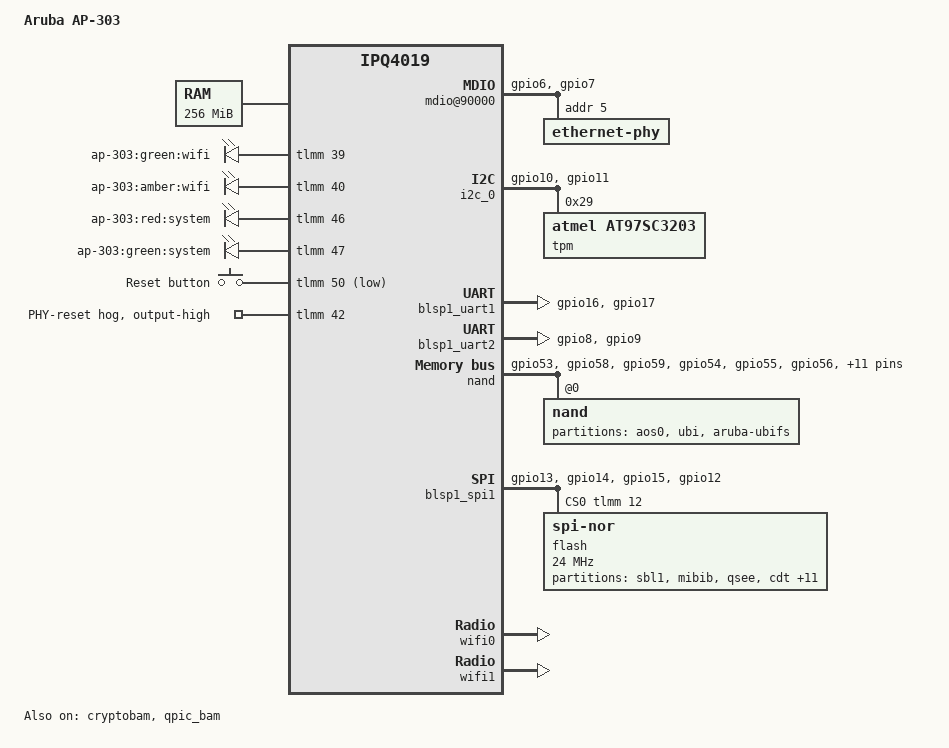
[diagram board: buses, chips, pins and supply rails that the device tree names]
// SPDX-License-Identifier: GPL-2.0 OR MIT

#include "qcom-ipq4019.dtsi"
#include <dt-bindings/gpio/gpio.h>
#include <dt-bindings/input/input.h>
#include <dt-bindings/soc/qcom,tcsr.h>

/ {
	model = "Aruba AP-303";
	compatible = "aruba,ap-303";

	aliases {
		led-boot = &led_system_green;
		led-failsafe = &led_system_red;
		led-running = &led_system_green;
		led-upgrade = &led_system_red;
	};

	memory {
		device_type = "memory";
		reg = <0x80000000 0x10000000>;
	};

	soc {
		rng@22000 {
			status = "okay";
		};

		mdio@90000 {
			status = "okay";
			pinctrl-0 = <&mdio_pins>;
			pinctrl-names = "default";

			/delete-node/ ethernet-phy@0;
			/delete-node/ ethernet-phy@2;
			/delete-node/ ethernet-phy@3;
			/delete-node/ ethernet-phy@4;

			ethernet-phy@5 {
				reg = <0x5>;
			};
		};

		counter@4a1000 {
			compatible = "qcom,qca-gcnt";
			reg = <0x4a1000 0x4>;
		};

		ess_tcsr@1953000 {
			compatible = "qcom,tcsr";
			reg = <0x1953000 0x1000>;
			qcom,ess-interface-select = <TCSR_ESS_PSGMII_RGMII5>;
		};

		tcsr@1949000 {
			compatible = "qcom,tcsr";
			reg = <0x1949000 0x100>;
			qcom,wifi_glb_cfg = <TCSR_WIFI_GLB_CFG>;
		};

		tcsr@1957000 {
			compatible = "qcom,tcsr";
			reg = <0x1957000 0x100>;
			qcom,wifi_noc_memtype_m0_m2 = <TCSR_WIFI_NOC_MEMTYPE_M0_M2>;
		};

		crypto@8e3a000 {
			status = "okay";
		};

		watchdog@b017000 {
			status = "okay";
		};

		ess-switch@c000000 {
			switch_mac_mode = <0x3>; /* mac mode for RGMII RMII */
			switch_lan_bmp = <0x0>; /* lan port bitmap */
			switch_wan_bmp = <0x10>; /* wan port bitmap */
		};

		edma@c080000 {
			qcom,single-phy;
			qcom,num_gmac = <1>;
			phy-mode = "rgmii-id";
			status = "okay";
		};

		i2c_0: i2c@78b7000 {
			pinctrl-0 = <&i2c_0_pins>;
			pinctrl-names = "default";
			status = "ok";

			tpm@29 {
				/* No Driver */
				compatible = "atmel,at97sc3203";
				reg = <0x29>;
				read-only;
			};
		};
	};

	leds {
		compatible = "gpio-leds";

		wifi_green {
			label = "ap-303:green:wifi";
			gpios = <&tlmm 39 GPIO_ACTIVE_HIGH>;
			linux,default-trigger = "phy0tpt";
		};

		wifi_amber {
			label = "ap-303:amber:wifi";
			gpios = <&tlmm 40 GPIO_ACTIVE_HIGH>;
			linux,default-trigger = "phy1tpt";
		};

		led_system_red: system_red {
			label = "ap-303:red:system";
			gpios = <&tlmm 46 GPIO_ACTIVE_HIGH>;
		};

		led_system_green: system_green {
			label = "ap-303:green:system";
			gpios = <&tlmm 47 GPIO_ACTIVE_HIGH>;
		};
	};

	keys {
		compatible = "gpio-keys";

		reset {
			label = "Reset button";
			gpios = <&tlmm 50 GPIO_ACTIVE_LOW>;
			linux,code = <KEY_RESTART>;
		};
	};
};

&blsp_dma {
	status = "okay";
};

&blsp1_uart1 {
	/* Texas Instruments CC2540T BLE radio */
	pinctrl-0 = <&serial_0_pins>;
	pinctrl-names = "default";
	status = "okay";
};

&blsp1_uart2 {
	pinctrl-0 = <&serial_1_pins>;
	pinctrl-names = "default";
	status = "okay";
};

&cryptobam {
	status = "okay";
};

&gmac0 {
	qcom,phy_mdio_addr = <5>;
	qcom,poll_required = <1>;
	vlan_tag = <0 0x20>;
};

&qpic_bam {
	status = "okay";
};

&tlmm {
	/*
	 * In addition to the Pins listed below,
	 * the following GPIOs have "features":
	 * 54 - out - active low to force HW reset
	 * 41 - out - active low to reset TPM
	 * 43 - out - active low to reset BLE radio
	 * 19 - in  - active high when DC powered
	 */
	mdio_pins: mdio_pinmux {
		mux_1 {
			pins = "gpio6";
			function = "mdio";
			bias-pull-up;
		};
		mux_2 {
			pins = "gpio7";
			function = "mdc";
			bias-pull-up;
		};
	};

	nand_pins: nand_pins {
		pullups {
			pins = "gpio53", "gpio58", "gpio59";
			function = "qpic";
			bias-pull-up;
		};

		pulldowns {
			pins = "gpio54", "gpio55", "gpio56",
				"gpio57", "gpio60", "gpio61",
				"gpio62", "gpio63", "gpio64",
				"gpio65", "gpio66", "gpio67",
				"gpio68", "gpio69";
			function = "qpic";
			bias-pull-down;
		};
	};

	spi_0_pins: spi_0_pinmux {
		pin {
			function = "blsp_spi0";
			pins = "gpio13", "gpio14", "gpio15";
			drive-strength = <12>;
			bias-disable;
		};
		pin_cs {
			function = "gpio";
			pins = "gpio12";
			drive-strength = <2>;
			bias-disable;
			output-high;
		};
	};
	i2c_0_pins: i2c_0_pinmux {
		mux {
			pins = "gpio10", "gpio11";
			function = "blsp_i2c0";
			drive-strength = <4>;
			bias-disable;
		};
	};

	serial_0_pins: serial_0_pinmux {
		mux {
			pins = "gpio16", "gpio17";
			function = "blsp_uart0";
			bias-disable;
		};
	};

	serial_1_pins: serial_1_pinmux {
		mux {
			pins = "gpio8", "gpio9";
			function = "blsp_uart1";
			bias-disable;
		};
	};

	phy-reset {
		line-name = "PHY-reset";
		gpios = <42 GPIO_ACTIVE_HIGH>;
		gpio-hog;
		output-high;
	};
};

&nand {
	pinctrl-0 = <&nand_pins>;
	pinctrl-names = "default";
	status = "okay";

	nand@0 {
		partitions {
			compatible = "fixed-partitions";
			#address-cells = <1>;
			#size-cells = <1>;

			partition@0 {
				/* 'aos0' in Aruba firmware */
				label = "aos0";
				reg = <0x0 0x2000000>;
				read-only;
			};

			partition@2000000 {
				/* 'aos1' in AVM firmware */
				label = "ubi";
				reg = <0x2000000 0x2000000>;
			};

			partition@4000000 {
				label = "aruba-ubifs";
				reg = <0x4000000 0x4000000>;
				read-only;
			};
		};
	};
};

&blsp1_spi1 {
	pinctrl-0 = <&spi_0_pins>;
	pinctrl-names = "default";
	status = "okay";
	cs-gpios = <&tlmm 12 GPIO_ACTIVE_HIGH>;

	flash@0 {
		compatible = "jedec,spi-nor";
		reg = <0>;
		spi-max-frequency = <24000000>;

		partitions {
			compatible = "fixed-partitions";
			#address-cells = <1>;
			#size-cells = <1>;

			/*
			 * There is no partition map for the NOR flash
			 * in the stock firmware.
			 *
			 * All partitions here are based on offsets
			 * found in the U-Boot GPL code and information
			 * from smem.
			 */

			partition@0 {
				label = "sbl1";
				reg = <0x0 0x40000>;
				read-only;
			};

			partition@40000 {
				label = "mibib";
				reg = <0x40000 0x20000>;
				read-only;
			};

			partition@60000 {
				label = "qsee";
				reg = <0x60000 0x60000>;
				read-only;
			};

			partition@c0000 {
				label = "cdt";
				reg = <0xc0000 0x10000>;
				read-only;
			};

			partition@d0000 {
				label = "ddrparams";
				reg = <0xd0000 0x10000>;
				read-only;
			};

			partition@e0000 {
				label = "ART";
				reg = <0xe0000 0x10000>;
				read-only;
			};

			partition@f0000 {
				label = "appsbl";
				reg = <0xf0000 0xf0000>;
				read-only;
			};

			partition@1e0000 {
				label = "mfginfo";
				reg = <0x1e0000 0x10000>;
				read-only;
			};

			partition@1f0000 {
				label = "apcd";
				reg = <0x1f0000 0x10000>;
				read-only;
			};

			partition@200000 {
				label = "osss";
				reg = <0x200000 0x180000>;
				read-only;
			};

			partition@380000 {
				/* This is empty */
				label = "appsblenv";
				reg = <0x380000 0x10000>;
				read-only;
			};

			partition@390000 {
				label = "pds";
				reg = <0x390000 0x10000>;
				read-only;
			};

			partition@3a0000 {
				label = "fcache";
				reg = <0x3a0000 0x10000>;
				read-only;
			};

			partition@3b0000 {
				/* Called osss1 in smem */
				label = "u-boot-env-bak";
				reg = <0x3b0000 0x10000>;
				read-only;
			};

			partition@3f0000 {
				label = "u-boot-env";
				reg = <0x3f0000 0x10000>;
				read-only;
			};
		};
	};
};

&wifi0 {
	status = "okay";
	qcom,ath10k-calibration-variant = "Aruba-AP-303";
};

&wifi1 {
	status = "okay";
	qcom,ath10k-calibration-variant = "Aruba-AP-303";
};
